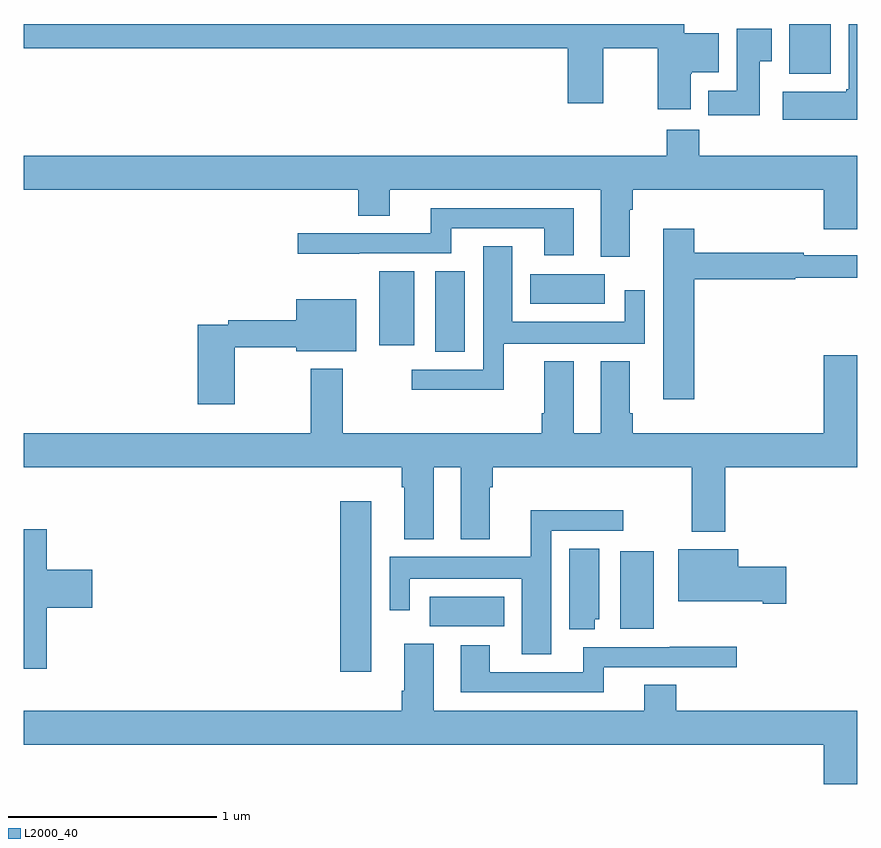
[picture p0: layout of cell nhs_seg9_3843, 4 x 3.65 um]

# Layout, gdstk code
import gdstk
lib = gdstk.Library(unit=1e-6, precision=1e-09)
def R(c, l, rs):  # rectangles x0, y0, x1, y1
    for r in rs: c.add(gdstk.rectangle(r[:2], r[2:], *l))
def P(c, l, *ps):  # polygons
    for p in ps: c.add(gdstk.Polygon(p, *l))
L2000_40 = (2000, 40)

nhs_seg9_3843 = lib.new_cell('nhs_seg9_3843')
R(nhs_seg9_3843, L2000_40, [(330.518,1243.392,330.667,1244.209), (331.862,1243.598,332.023,1243.969), (330.948,1243.61,331.306,1243.75), (330.974,1244.926,331.117,1245.314), (330.707,1244.958,330.874,1245.314), (331.43,1245.158,331.789,1245.298), (332.675,1246.262,332.872,1246.5)])
P(nhs_seg9_3843, L2000_40, [(333,1246.5),(332.96,1246.5),(332.96,1246.188),(332.947,1246.188),(332.947,1246.174),(332.643,1246.174),(332.643,1246.04),(333,1246.04)],
  [(332.2,1246.262),(332.206,1246.262),(332.206,1246.268),(332.335,1246.268),(332.335,1246.456),(332.17,1246.456),(332.17,1246.5),(329,1246.5),(329,1246.384),(331.61,1246.384),(331.61,1246.119),(331.78,1246.119),(331.78,1246.384),(332.042,1246.384),(332.042,1246.092),(332.2,1246.092)],
  [(332.533,1246.321),(332.59,1246.321),(332.59,1246.477),(332.423,1246.477),(332.423,1246.18),(332.285,1246.18),(332.285,1246.062),(332.533,1246.062)],
  [(331.909,1245.608),(331.922,1245.608),(331.922,1245.704),(332.84,1245.704),(332.84,1245.516),(333,1245.516),(333,1245.868),(332.243,1245.868),(332.243,1245.992),(332.087,1245.992),(332.087,1245.868),(329,1245.868),(329,1245.704),(330.605,1245.704),(330.605,1245.58),(330.757,1245.58),(330.757,1245.704),(331.769,1245.704),(331.769,1245.384),(331.909,1245.384)],
  [(331.639,1245.615),(330.953,1245.615),(330.953,1245.495),(330.315,1245.495),(330.315,1245.397),(330.611,1245.397),(330.611,1245.399),(331.051,1245.399),(331.051,1245.519),(331.499,1245.519),(331.499,1245.39),(331.639,1245.39)],
  [(332.219,1245.274),(332.702,1245.274),(332.702,1245.282),(333,1245.282),(333,1245.39),(332.744,1245.39),(332.744,1245.403),(332.219,1245.403),(332.219,1245.517),(332.069,1245.517),(332.069,1244.7),(332.219,1244.7)],
  [(331.304,1244.966),(331.98,1244.966),(331.98,1245.223),(331.884,1245.223),(331.884,1245.07),(331.345,1245.07),(331.345,1245.434),(331.205,1245.434),(331.205,1244.841),(330.861,1244.841),(330.861,1244.744),(331.304,1244.744)],
  [(330.012,1244.949),(330.308,1244.949),(330.308,1244.93),(330.595,1244.93),(330.595,1245.178),(330.308,1245.178),(330.308,1245.077),(329.98,1245.077),(329.98,1245.057),(329.834,1245.057),(329.834,1244.676),(330.012,1244.676)],
  [(331.922,1244.632),(331.909,1244.632),(331.909,1244.881),(331.769,1244.881),(331.769,1244.536),(331.639,1244.536),(331.639,1244.881),(331.499,1244.881),(331.499,1244.632),(331.487,1244.632),(331.487,1244.536),(330.531,1244.536),(330.531,1244.845),(330.376,1244.845),(330.376,1244.536),(329,1244.536),(329,1244.372),(330.815,1244.372),(330.815,1244.276),(330.827,1244.276),(330.827,1244.027),(330.967,1244.027),(330.967,1244.372),(331.097,1244.372),(331.097,1244.027),(331.237,1244.027),(331.237,1244.276),(331.25,1244.276),(331.25,1244.372),(332.206,1244.372),(332.206,1244.063),(332.366,1244.063),(332.366,1244.372),(333,1244.372),(333,1244.911),(332.84,1244.911),(332.84,1244.536),(331.922,1244.536)],
  [(331.531,1244.067),(331.876,1244.067),(331.876,1244.165),(331.433,1244.165),(331.433,1243.942),(330.756,1243.942),(330.756,1243.686),(330.852,1243.686),(330.852,1243.838),(331.391,1243.838),(331.391,1243.474),(331.531,1243.474)],
  [(329.111,1243.697),(329.329,1243.697),(329.329,1243.88),(329.111,1243.88),(329.111,1244.074),(329,1244.074),(329,1243.406),(329.111,1243.406)],
  [(331.741,1243.644),(331.762,1243.644),(331.762,1243.982),(331.619,1243.982),(331.619,1243.594),(331.741,1243.594)],
  [(332.659,1243.896),(332.428,1243.896),(332.428,1243.978),(332.141,1243.978),(332.141,1243.73),(332.546,1243.73),(332.546,1243.718),(332.659,1243.718)],
  [(333,1243.204),(332.132,1243.204),(332.132,1243.328),(331.979,1243.328),(331.979,1243.204),(330.967,1243.204),(330.967,1243.525),(330.827,1243.525),(330.827,1243.3),(330.815,1243.3),(330.815,1243.204),(329,1243.204),(329,1243.04),(332.84,1243.04),(332.84,1242.852),(333,1242.852)],
  [(331.784,1243.413),(332.422,1243.413),(332.422,1243.512),(332.101,1243.512),(332.101,1243.509),(331.685,1243.509),(331.685,1243.389),(331.237,1243.389),(331.237,1243.519),(331.097,1243.519),(331.097,1243.293),(331.784,1243.293)])

lib.write_gds('nhs_seg9_3843.gds')
